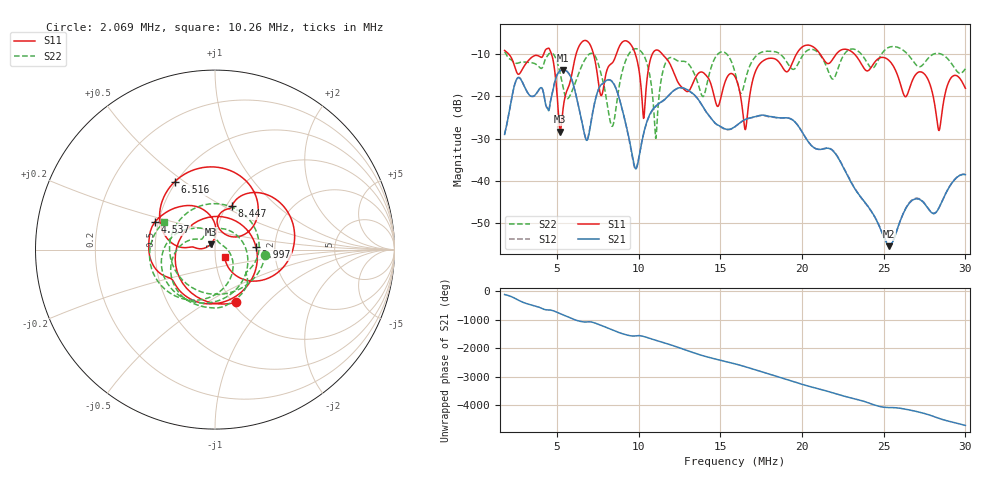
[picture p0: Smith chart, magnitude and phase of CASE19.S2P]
!Agilent Technologies,E5061B,MY49101568,A.02.00
!Date: Wed Mar 01 16:38:54 2023
!Data & Calibration Information:
!Freq	S11:SOLT2(OFF)	S21:SOLT2(OFF)	S12:SOLT2(OFF)	S22:SOLT2(OFF)
# Hz S dB R 50
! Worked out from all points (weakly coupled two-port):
!   1155 points, 1.8 MHz to 30 MHz, reference 50 ohm
!   highest |S21| = -13.69 dB at 5.392 MHz (marker M1); lowest = -55.5 dB at 25.33 MHz (marker M2)
!   lowest |S11| = -28.4 dB at 5.197 MHz (marker M3), VSWR 1.08, Z = 47.5 + j2.78 ohm
!   |S11| at or under -10 dB: 2.069 MHz to 4.186 MHz (2.117 MHz wide, 67.7 % of centre); 11.46 MHz to 19.65 MHz (8.192 MHz wide, 52.7 % of centre); 23.23 MHz to end of sweep (the widest 3 of 7)
!   |S22| runs from -30.0 to -8.1 dB; largest |S21 - S12| = 0.0031
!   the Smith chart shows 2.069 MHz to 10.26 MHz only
!   S11 on the Smith chart (normalised r, x): 2.069 MHz: 1.03, -0.68; 2.997 MHz: 1.59, +0.05; 4.537 MHz: 0.48, +0.17; 6.516 MHz: 0.49, +0.46; 8.447 MHz: 1.06, +0.55; 10.26 MHz: 1.11, -0.09
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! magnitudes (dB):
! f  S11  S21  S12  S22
! 1.8 MHz  -9.1  -29.0  -28.9  -9.4
! 2.069 MHz  -10.0  -23.8  -23.9  -11.0
! 2.997 MHz  -12.8  -17.5  -17.5  -11.8
! 4.537 MHz  -8.7  -22.9  -22.8  -9.8
! 5.197 MHz  -28.4  -13.9  -13.9  -14.5
! 5.392 MHz  -22.5  -13.7  -13.7  -18.1
! 6.516 MHz  -7.1  -25.7  -25.7  -12.8
! 7.714 MHz  -19.8  -17.2  -17.2  -14.8
! 8.447 MHz  -11.7  -16.8  -16.7  -26.7
! 9.766 MHz  -9.5  -36.7  -37.0  -8.7
! 10.26 MHz  -23.3  -29.7  -29.7  -9.8
! 11.21 MHz  -9.1  -21.7  -21.9  -21.6
! 11.89 MHz  -12.1  -19.5  -19.6  -10.8
! 15.9 MHz  -15.3  -27.2  -27.2  -14.3
! 16.54 MHz  -27.9  -25.4  -25.5  -16.0
! 17.44 MHz  -12.2  -24.5  -24.6  -9.7
! 20.62 MHz  -8.1  -31.8  -31.8  -8.8
! 25.31 MHz  -11.4  -55.4  -55.2  -8.4
! 25.33 MHz  -11.5  -55.5  -55.2  -8.3
! 27.56 MHz  -15.0  -45.7  -45.6  -11.7
! 28.39 MHz  -28.1  -46.4  -46.4  -9.8
! 30 MHz  -18.1  -38.5  -38.5  -13.4
